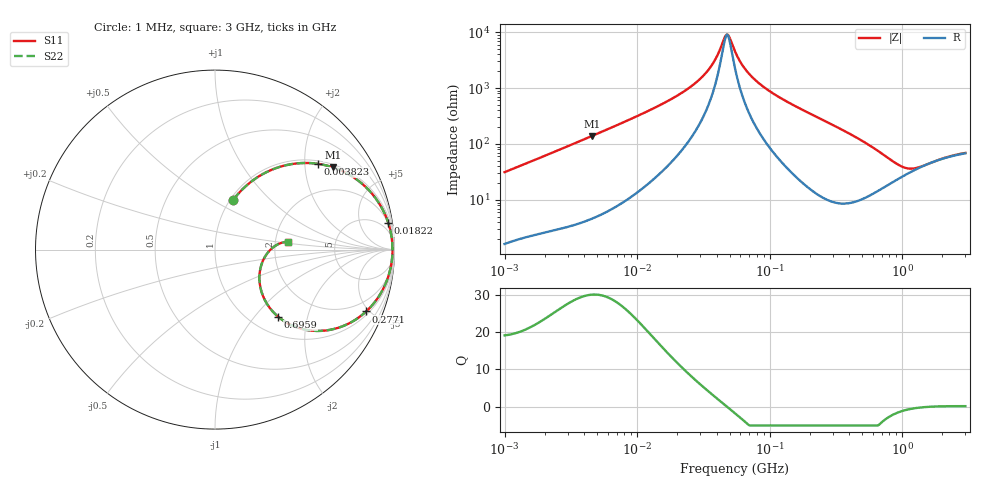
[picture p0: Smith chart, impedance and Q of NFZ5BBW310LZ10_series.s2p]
! NFZ5BBW310LZ10
# Hz S RI R 50
!Freq.(Hz) S11(Real) S11(Imag) S21(Real) S21(Imag) S12(Real) S12(Imag) S22(Real) S22(Imag)
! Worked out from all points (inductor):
!   401 points, 1 MHz to 3 GHz, reference 50 ohm
!   read as one part in series: L = 4.94 uH near 1.041 MHz
!   highest Q = 30.1 at 4.578 MHz (marker M1), where L = 4.86 uH
!   self-resonance near 47.61 MHz
!   S11 on the Smith chart (normalised r, x): 1 MHz: 1.03, +0.63; 3.823 MHz: 1.08, +2.33; 18.22 MHz: 2, +13; 277.1 MHz: 1.20, -4.80; 695.9 MHz: 1.31, -1.34; 3 GHz: 2.37, +0.24
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1000000  0.1018 0.2774  0.8982 -0.2774  0.8982 -0.2774  0.1018 0.2774
1859846  0.2554 0.4147  0.7446 -0.4147  0.7446 -0.4147  0.2554 0.4147
3823119  0.5735 0.4779  0.4265 -0.4779  0.4265 -0.4779  0.5735 0.4779
4577760  0.6564 0.4586  0.3436 -0.4586  0.3436 -0.4586  0.6564 0.4586
8017732  0.8518 0.3369  0.1482 -0.3369  0.1482 -0.3369  0.8518 0.3369
1.461624e7  0.9488 0.1927  0.0512 -0.1927  0.0512 -0.1927  0.9488 0.1927
1.821614e7  0.9656 0.1485  0.0344 -0.1485  0.0344 -0.1485  0.9656 0.1485
3.320783e7  0.9864 0.0504  0.0136 -0.0504  0.0136 -0.0504  0.9864 0.0504
3.897472e7  0.9883 0.0278  0.0117 -0.0278  0.0117 -0.0278  0.9883 0.0278
4.666789e7  0.9891 0.00314  0.0109 -0.00314  0.0109 -0.00314  0.9891 0.00314
4.955604e7  0.9891 -0.00504  0.0109 0.00504  0.0109 0.00504  0.9891 -0.00504
5.477226e7  0.9888 -0.0187  0.0112 0.0187  0.0112 0.0187  0.9888 -0.0187
6.558369e7  0.9872 -0.0439  0.0128 0.0439  0.0128 0.0439  0.9872 -0.0439
8.338914e7  0.9826 -0.0796  0.0174 0.0796  0.0174 0.0796  0.9826 -0.0796
2.094008e8  0.908 -0.268  0.092 0.268  0.092 0.268  0.908 -0.268
2.771263e8  0.8424 -0.3444  0.1576 0.3444  0.1576 0.3444  0.8424 -0.3444
4.75755e8  0.5903 -0.4528  0.4097 0.4528  0.4097 0.4528  0.5903 -0.4528
6.958997e8  0.3517 -0.3741  0.6483 0.3741  0.6483 0.3741  0.3517 -0.3741
8.005644e8  0.2898 -0.3026  0.7102 0.3026  0.7102 0.3026  0.2898 -0.3026
1.218836e9  0.26 -0.0801  0.74 0.0801  0.74 0.0801  0.26 -0.0801
1.782824e9  0.3318 0.0185  0.6682 -0.0185  0.6682 -0.0185  0.3318 0.0185
3e9  0.409 0.0427  0.591 -0.0427  0.591 -0.0427  0.409 0.0427
